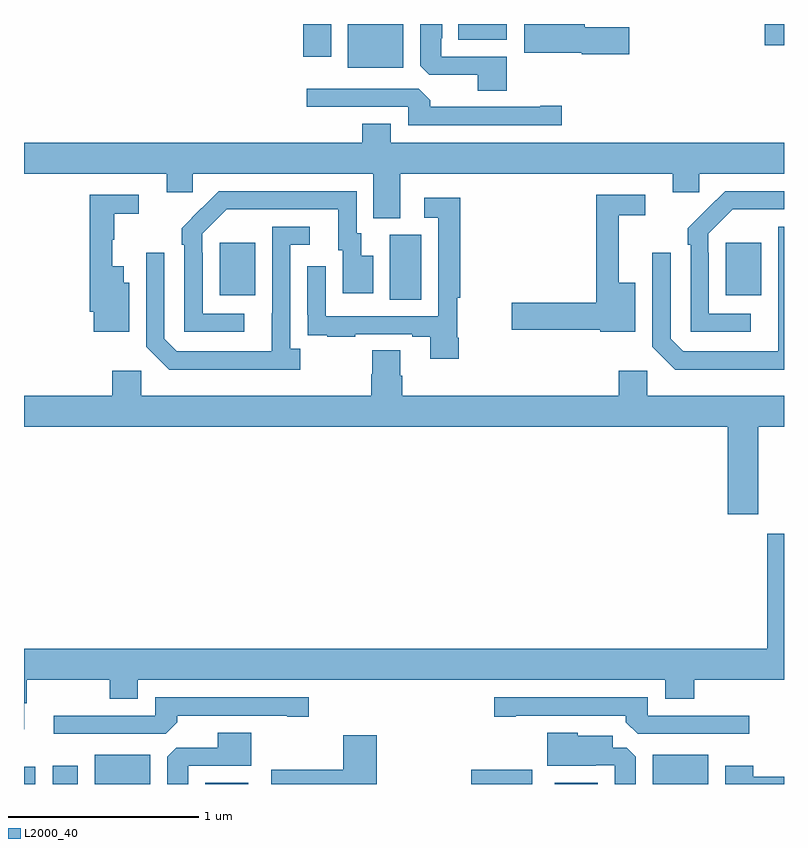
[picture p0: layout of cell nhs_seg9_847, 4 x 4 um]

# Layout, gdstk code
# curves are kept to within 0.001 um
import gdstk
lib = gdstk.Library(unit=1e-6, precision=1e-09)
def R(c, l, rs):  # rectangles x0, y0, x1, y1
    for r in rs: c.add(gdstk.rectangle(r[:2], r[2:], *l))
def P(c, l, *ps):  # polygons
    for p in ps: c.add(gdstk.Polygon(p, *l))
L2000_40 = (2000, 40)

nhs_seg9_847 = lib.new_cell('nhs_seg9_847')
R(nhs_seg9_847, L2000_40, [(155,1234.5,155.059,1234.591), (155.15,1234.5,155.284,1234.597), (155.372,1234.5,155.665,1234.654), (155.954,1234.5,156.181,1234.507), (157.355,1234.5,157.675,1234.576), (157.793,1234.5,158.02,1234.507), (158.309,1234.5,158.602,1234.654), (156.926,1237.048,157.09,1237.392), (156.029,1237.073,156.217,1237.348), (158.693,1237.073,158.881,1237.348), (156.704,1238.27,156.997,1238.5), (156.47,1238.328,156.616,1238.5), (158.898,1238.387,159,1238.5), (157.286,1238.417,157.54,1238.5)])
P(nhs_seg9_847, L2000_40, [(157.541,1238.328),(157.197,1238.328),(157.197,1238.425),(157.201,1238.425),(157.201,1238.5),(157.085,1238.5),(157.085,1238.281),(157.134,1238.232),(157.388,1238.232),(157.388,1238.149),(157.541,1238.149)],
  [(158.185,1238.483),(157.952,1238.483),(157.952,1238.5),(157.632,1238.5),(157.632,1238.348),(157.935,1238.348),(157.935,1238.341),(158.185,1238.341)],
  [(157.831,1238.069),(157.718,1238.069),(157.718,1238.064),(157.139,1238.064),(157.139,1238.098),(157.077,1238.16),(156.489,1238.16),(156.489,1238.064),(157.023,1238.064),(157.023,1237.968),(157.831,1237.968)],
  [(156.979,1237.712),(158.414,1237.712),(158.414,1237.614),(158.553,1237.614),(158.553,1237.712),(159,1237.712),(159,1237.876),(156.931,1237.876),(156.931,1237.975),(156.779,1237.975),(156.779,1237.876),(155,1237.876),(155,1237.712),(155.75,1237.712),(155.75,1237.614),(155.889,1237.614),(155.889,1237.712),(156.839,1237.712),(156.839,1237.477),(156.979,1237.477)],
  [(158.824,1236.975),(158.604,1236.975),(158.604,1237.295),(158.601,1237.295),(158.601,1237.395),(158.73,1237.524),(159,1237.524),(159,1237.62),(158.69,1237.62),(158.493,1237.425),(158.493,1237.337),(158.508,1237.337),(158.508,1236.879),(158.824,1236.879)],
  [(156.16,1236.975),(155.94,1236.975),(155.94,1237.295),(155.937,1237.295),(155.937,1237.395),(156.066,1237.524),(156.653,1237.524),(156.653,1237.308),(156.677,1237.308),(156.677,1237.083),(156.838,1237.083),(156.838,1237.279),(156.775,1237.279),(156.775,1237.398),(156.75,1237.398),(156.75,1237.62),(156.026,1237.62),(155.829,1237.425),(155.829,1237.337),(155.844,1237.337),(155.844,1236.879),(156.16,1236.879)],
  [(155.554,1237.138),(155.524,1237.138),(155.524,1237.225),(155.465,1237.225),(155.465,1237.365),(155.476,1237.365),(155.476,1237.501),(155.605,1237.501),(155.605,1237.602),(155.347,1237.602),(155.347,1236.985),(155.366,1236.985),(155.366,1236.881),(155.554,1236.881)],
  [(158.218,1237.138),(158.129,1237.138),(158.129,1237.494),(158.269,1237.494),(158.269,1237.602),(158.011,1237.602),(158.011,1237.034),(157.566,1237.034),(157.566,1236.892),(158.034,1236.892),(158.034,1236.881),(158.218,1236.881)],
  [(157.289,1236.85),(157.28,1236.85),(157.28,1237.06),(157.295,1237.06),(157.295,1237.585),(157.107,1237.585),(157.107,1237.479),(157.179,1237.479),(157.179,1236.963),(156.588,1236.963),(156.588,1237.225),(156.492,1237.225),(156.492,1236.97),(156.493,1236.97),(156.493,1236.861),(156.595,1236.861),(156.595,1236.855),(156.743,1236.855),(156.743,1236.867),(157.043,1236.867),(157.043,1236.855),(157.139,1236.855),(157.139,1236.738),(157.289,1236.738)],
  [(159,1237.434),(158.97,1237.434),(158.97,1236.977),(158.969,1236.977),(158.969,1236.777),(158.469,1236.777),(158.403,1236.843),(158.403,1237.297),(158.307,1237.297),(158.307,1236.801),(158.428,1236.68),(159,1236.68)],
  [(156.454,1236.79),(156.402,1236.79),(156.402,1237.338),(156.505,1237.338),(156.505,1237.434),(156.306,1237.434),(156.305,1236.777),(155.805,1236.777),(155.739,1236.843),(155.739,1237.297),(155.643,1237.297),(155.643,1236.801),(155.764,1236.68),(156.454,1236.68)],
  [(158.865,1236.38),(159,1236.38),(159,1236.544),(158.28,1236.544),(158.28,1236.676),(158.129,1236.676),(158.129,1236.544),(156.992,1236.544),(156.992,1236.65),(156.979,1236.65),(156.979,1236.782),(156.832,1236.782),(156.832,1236.657),(156.827,1236.657),(156.827,1236.544),(155.616,1236.544),(155.616,1236.676),(155.465,1236.676),(155.465,1236.544),(155,1236.544),(155,1236.38),(158.705,1236.38),(158.705,1235.919),(158.865,1235.919)],
  [(155.002,1234.926),(155.014,1234.926),(155.014,1235.048),(155.452,1235.048),(155.452,1234.949),(155.599,1234.949),(155.599,1235.048),(158.375,1235.048),(158.375,1234.949),(158.528,1234.949),(158.528,1235.048),(159,1235.048),(159,1235.818),(158.912,1235.818),(158.912,1235.212),(155,1235.212),(155,1234.788),(155.002,1234.788)],
  [(158.818,1234.86),(158.283,1234.86),(158.283,1234.956),(157.476,1234.956),(157.476,1234.855),(157.588,1234.855),(157.588,1234.86),(158.168,1234.86),(158.168,1234.826),(158.229,1234.764),(158.818,1234.764)],
  [(155.807,1234.826),(155.807,1234.86),(156.386,1234.86),(156.386,1234.855),(156.499,1234.855),(156.499,1234.956),(155.691,1234.956),(155.691,1234.86),(155.157,1234.86),(155.157,1234.764),(155.745,1234.764)],
  [(155.865,1234.596),(156.196,1234.596),(156.196,1234.771),(156.02,1234.771),(156.02,1234.692),(155.802,1234.692),(155.753,1234.643),(155.753,1234.5),(155.865,1234.5)],
  [(158.221,1234.643),(158.172,1234.692),(158.098,1234.692),(158.098,1234.753),(157.914,1234.753),(157.914,1234.771),(157.754,1234.771),(157.754,1234.595),(158.009,1234.595),(158.009,1234.599),(158.109,1234.599),(158.109,1234.5),(158.221,1234.5)],
  [(156.857,1234.756),(156.679,1234.756),(156.679,1234.576),(156.3,1234.576),(156.3,1234.5),(156.857,1234.5)],
  [(159,1234.538),(158.837,1234.538),(158.837,1234.597),(158.69,1234.597),(158.69,1234.5),(159,1234.5)])

lib.write_gds('nhs_seg9_847.gds')
